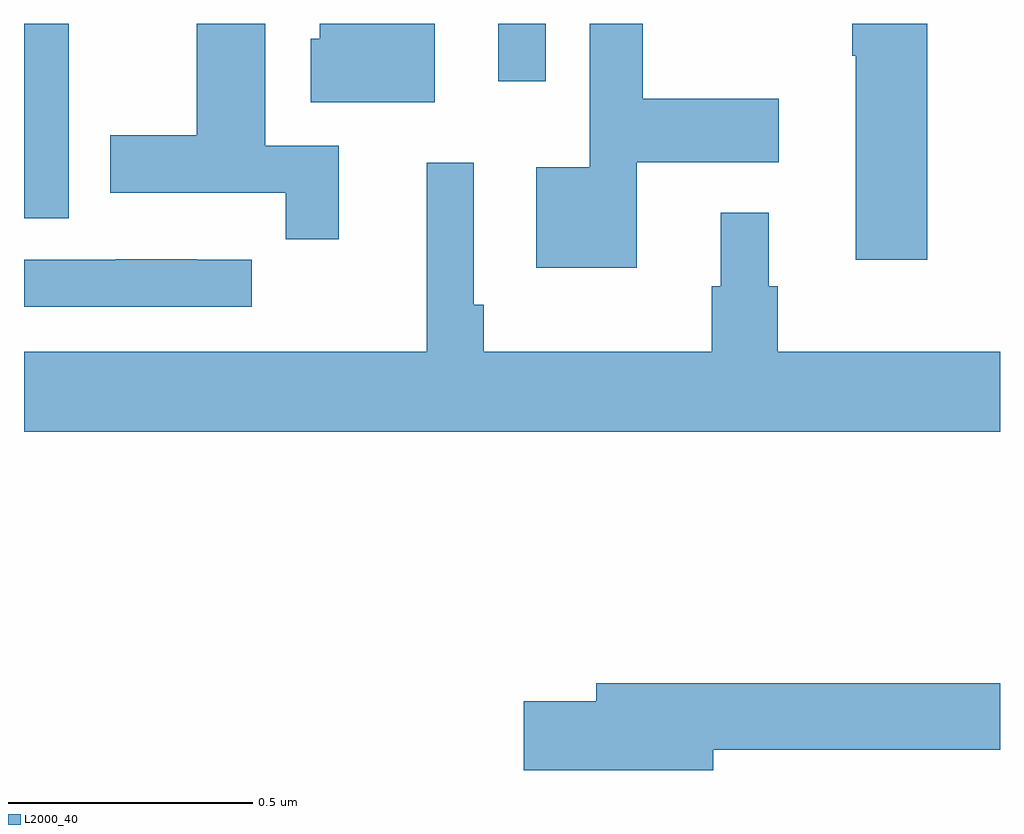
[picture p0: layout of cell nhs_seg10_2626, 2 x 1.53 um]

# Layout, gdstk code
import gdstk
lib = gdstk.Library(unit=1e-6, precision=1e-09)
def R(c, l, rs):  # rectangles x0, y0, x1, y1
    for r in rs: c.add(gdstk.rectangle(r[:2], r[2:], *l))
def P(c, l, *ps):  # polygons
    for p in ps: c.add(gdstk.Polygon(p, *l))
L2000_40 = (2000, 40)

nhs_seg10_2626 = lib.new_cell('nhs_seg10_2626')
R(nhs_seg10_2626, L2000_40, [(143,1286.101,143.092,1286.5), (143.972,1286.382,144.069,1286.5)])
P(nhs_seg10_2626, L2000_40, [(143.645,1286.25),(143.494,1286.25),(143.494,1286.5),(143.354,1286.5),(143.354,1286.271),(143.177,1286.271),(143.177,1286.154),(143.536,1286.154),(143.536,1286.058),(143.645,1286.058)],
  [(143.842,1286.5),(143.606,1286.5),(143.606,1286.469),(143.588,1286.469),(143.588,1286.339),(143.842,1286.339)],
  [(144.851,1286.5),(144.697,1286.5),(144.697,1286.434),(144.704,1286.434),(144.704,1286.016),(144.851,1286.016)],
  [(144.256,1286.216),(144.547,1286.216),(144.547,1286.346),(144.268,1286.346),(144.268,1286.5),(144.159,1286.5),(144.159,1286.206),(144.05,1286.206),(144.05,1286),(144.256,1286)],
  [(145,1285.828),(144.545,1285.828),(144.545,1285.962),(144.526,1285.962),(144.526,1286.113),(144.428,1286.113),(144.428,1285.962),(144.409,1285.962),(144.409,1285.828),(143.942,1285.828),(143.942,1285.924),(143.922,1285.924),(143.922,1286.215),(143.825,1286.215),(143.825,1285.828),(143,1285.828),(143,1285.664),(145,1285.664)],
  [(143.467,1286.016),(143.354,1286.016),(143.354,1286.017),(143.188,1286.017),(143.188,1286.016),(143,1286.016),(143,1285.92),(143.467,1285.92)],
  [(144.412,1285.012),(145,1285.012),(145,1285.148),(144.173,1285.148),(144.173,1285.112),(144.024,1285.112),(144.024,1284.97),(144.412,1284.97)])

lib.write_gds('nhs_seg10_2626.gds')
